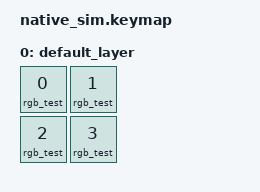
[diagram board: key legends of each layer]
#include <behaviors.dtsi>
#include <dt-bindings/zmk/kscan_mock.h>

/ {
    chosen {
        zmk,underglow = &led_strip_mock;
    };

    led_strip_mock: led_strip_mock {
        compatible = "zmk,led-strip-mock";
        chain-length = <4>;
    };

    EXT_POWER {
        compatible = "zmk,ext-power-generic";
        control-gpios = <&gpio0 1 GPIO_ACTIVE_HIGH>;
    };

    behaviors {
        rgb_test: rgb_test {
            compatible = "zmk,behavior-rgb-underglow-test";
            #binding-cells = <1>;
        };
    };

    keymap {
        compatible = "zmk,keymap";

        default_layer {
            bindings = <
                &rgb_test 0 &rgb_test 1
                &rgb_test 2 &rgb_test 3
            >;
        };
    };
};

&kscan {
    events = <
        ZMK_MOCK_PRESS(0,0,10)
        ZMK_MOCK_RELEASE(0,0,10)
        ZMK_MOCK_PRESS(0,1,10)
        ZMK_MOCK_RELEASE(0,1,10)
        ZMK_MOCK_PRESS(1,0,10)
        ZMK_MOCK_RELEASE(1,0,10)
        ZMK_MOCK_PRESS(1,1,10)
        /* Allow the dedicated timing and settings test thread to complete before exit. */
        ZMK_MOCK_RELEASE(1,1,12000)
    >;
};
